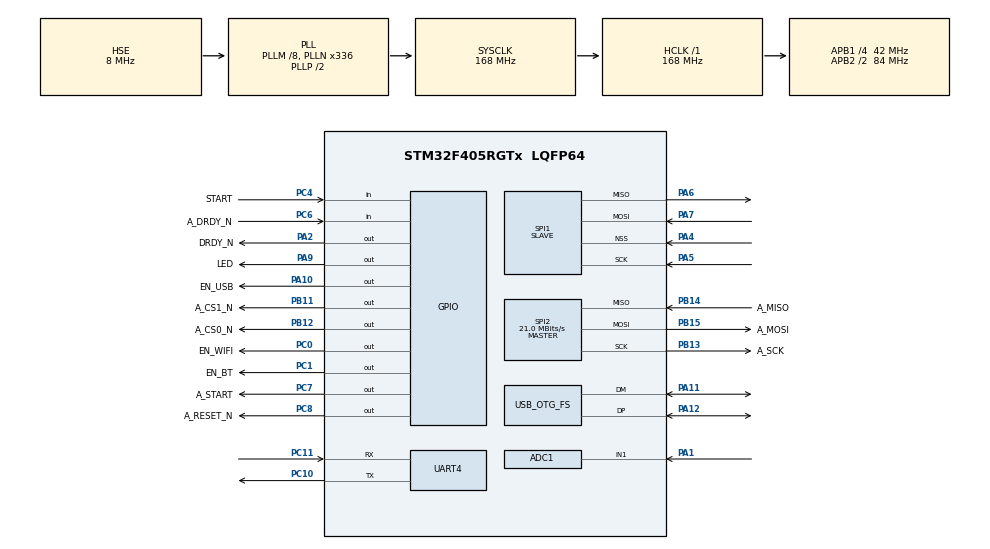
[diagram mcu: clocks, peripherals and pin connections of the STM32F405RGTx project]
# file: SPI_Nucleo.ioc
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ADC1.Channel-0\#ChannelRegularConversion=ADC_CHANNEL_1
ADC1.ClockPrescaler=ADC_CLOCK_SYNC_PCLK_DIV4
ADC1.ContinuousConvMode=DISABLE
ADC1.DMAContinuousRequests=DISABLE
ADC1.DataAlign=ADC_DATAALIGN_RIGHT
ADC1.DiscontinuousConvMode=DISABLE
ADC1.EOCSelection=ADC_EOC_SINGLE_CONV
ADC1.EnableAnalogWatchDog=false
ADC1.ExternalTrigConv=ADC_SOFTWARE_START
ADC1.ExternalTrigConvEdge=ADC_EXTERNALTRIGCONVEDGE_NONE
ADC1.InjNumberOfConversion=0
ADC1.NbrOfConversion=1
ADC1.NbrOfConversionFlag=1
ADC1.Rank-0\#ChannelRegularConversion=1
ADC1.Resolution=ADC_RESOLUTION_12B
ADC1.SamplingTime-0\#ChannelRegularConversion=ADC_SAMPLETIME_3CYCLES
ADC1.ScanConvMode=DISABLE
ADC1.master=1
Mcu.Family=STM32F4
Mcu.Name=STM32F405RGTx
Mcu.Package=LQFP64
NVIC.OTG_FS_IRQn=true\:0\:0\:false\:false\:true\:false
NVIC.PriorityGroup=NVIC_PRIORITYGROUP_4
PA1.Signal=ADCx_IN1
PA10.GPIO_Label=EN_USB
PA10.Signal=GPIO_Output
PA11.Mode=Host_Only
PA11.Signal=USB_OTG_FS_DM
PA12.Mode=Host_Only
PA12.Signal=USB_OTG_FS_DP
PA2.GPIO_Label=DRDY_N
PA2.PinState=GPIO_PIN_SET
PA2.Signal=GPIO_Output
PA4.Mode=NSS_Signal_Hard_Input
PA4.Signal=SPI1_NSS
PA5.Mode=Full_Duplex_Slave
PA5.Signal=SPI1_SCK
PA6.Mode=Full_Duplex_Slave
PA6.Signal=SPI1_MISO
PA7.Mode=Full_Duplex_Slave
PA7.Signal=SPI1_MOSI
PA9.GPIO_Label=LED
PA9.PinState=GPIO_PIN_SET
PA9.Signal=GPIO_Output
PB11.GPIO_Label=A_CS1_N
PB11.GPIO_PuPd=GPIO_NOPULL
PB11.GPIO_Speed=GPIO_SPEED_FREQ_LOW
PB11.Signal=GPIO_Output
PB12.GPIO_Label=A_CS0_N
PB12.GPIO_PuPd=GPIO_NOPULL
PB12.GPIO_Speed=GPIO_SPEED_FREQ_LOW
PB12.PinState=GPIO_PIN_SET
PB12.Signal=GPIO_Output
PB13.GPIO_Label=A_SCK
PB13.Mode=Full_Duplex_Master
PB13.Signal=SPI2_SCK
PB14.GPIO_Label=A_MISO
PB14.Mode=Full_Duplex_Master
PB14.Signal=SPI2_MISO
PB15.GPIO_Label=A_MOSI
PB15.Mode=Full_Duplex_Master
PB15.Signal=SPI2_MOSI
PC0.GPIO_Label=EN_WIFI
PC0.PinState=GPIO_PIN_SET
PC0.Signal=GPIO_Output
PC1.GPIO_Label=EN_BT
PC1.Signal=GPIO_Output
PC10.Mode=Asynchronous
PC10.Signal=UART4_TX
PC11.Mode=Asynchronous
PC11.Signal=UART4_RX
PC4.GPIO_Label=START
PC4.Signal=GPIO_Input
PC6.GPIO_Label=A_DRDY_N
PC6.GPIO_PuPd=GPIO_NOPULL
PC6.Signal=GPIO_Input
PC7.GPIO_Label=A_START
PC7.GPIO_PuPd=GPIO_NOPULL
PC7.PinState=GPIO_PIN_SET
PC7.Signal=GPIO_Output
PC8.GPIO_Label=A_RESET_N
PC8.PinState=GPIO_PIN_SET
PC8.Signal=GPIO_Output
PH0-OSC_IN.Mode=HSE-External-Oscillator
PH0-OSC_IN.Signal=RCC_OSC_IN
PH1-OSC_OUT.Mode=HSE-External-Oscillator
PH1-OSC_OUT.Signal=RCC_OSC_OUT
ProjectManager.HeapSize=0x200
ProjectManager.StackSize=0x400
ProjectManager.TargetToolchain=MDK-ARM V5
RCC.48MHZClocksFreq_Value=48000000
RCC.AHBFreq_Value=168000000
RCC.APB1CLKDivider=RCC_HCLK_DIV4
RCC.APB1Freq_Value=42000000
RCC.APB1TimFreq_Value=84000000
RCC.APB2CLKDivider=RCC_HCLK_DIV2
RCC.APB2Freq_Value=84000000
RCC.APB2TimFreq_Value=168000000
RCC.CortexFreq_Value=168000000
RCC.EnbaleCSS=true
RCC.HCLKFreq_Value=168000000
RCC.HSE_VALUE=8000000
RCC.HSI_VALUE=16000000
RCC.LSE_VALUE=32768
RCC.PLLM=8
RCC.PLLN=336
RCC.PLLQ=7
RCC.SYSCLKFreq_VALUE=168000000
RCC.SYSCLKSource=RCC_SYSCLKSOURCE_PLLCLK
RCC.VCOOutputFreq_Value=336000000
SH.ADCx_IN1.0=ADC1_IN1,IN1
SPI1.CLKPhase=SPI_PHASE_2EDGE
SPI1.CLKPolarity=SPI_POLARITY_LOW
SPI1.Direction=SPI_DIRECTION_2LINES
SPI1.Mode=SPI_MODE_SLAVE
SPI1.VirtualNSS=VM_NSSHARD
SPI1.VirtualType=VM_SLAVE
SPI2.BaudRatePrescaler=SPI_BAUDRATEPRESCALER_2
SPI2.CLKPhase=SPI_PHASE_2EDGE
SPI2.CalculateBaudRate=21.0 MBits/s
SPI2.Direction=SPI_DIRECTION_2LINES
SPI2.Mode=SPI_MODE_MASTER
SPI2.VirtualType=VM_MASTER
UART4.VirtualMode=Asynchronous
USB_HOST.USBH_HandleTypeDef-ALL_Classes_FS=hUsbHostFS
USB_HOST.VirtualModeFS=All_Classes
USB_OTG_FS.VirtualMode=Host_Only
USB_OTG_FS.phy_itface=HCD_PHY_EMBEDDED
VP_USB_HOST_VS_USB_HOST_ALL_CLASS_FS.Mode=ALL_Classes_FS
board=SPI_Nucleo

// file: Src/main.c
/**
  ******************************************************************************
  * File Name          : main.c
  * Description        : Main program body
  ******************************************************************************
  * This notice applies to any and all portions of this file
  * that are not between comment pairs USER CODE BEGIN and
  * USER CODE END. Other portions of this file, whether
  * inserted by the user or by software development tools
  * are owned by their respective copyright owners.
  *
  * Copyright (c) 2018 STMicroelectronics International N.V.
  * All rights reserved.
  *
  * Redistribution and use in source and binary forms, with or without
  * modification, are permitted, provided that the following conditions are met:
  *
  * 1. Redistribution of source code must retain the above copyright notice,
  *    this list of conditions and the following disclaimer.
  * 2. Redistributions in binary form must reproduce the above copyright notice,
  *    this list of conditions and the following disclaimer in the documentation
  *    and/or other materials provided with the distribution.
  * 3. Neither the name of STMicroelectronics nor the names of other
  *    contributors to this software may be used to endorse or promote products
  *    derived from this software without specific written permission.
  * 4. This software, including modifications and/or derivative works of this
  *    software, must execute solely and exclusively on microcontroller or
  *    microprocessor devices manufactured by or for STMicroelectronics.
  * 5. Redistribution and use of this software other than as permitted under
  *    this license is void and will automatically terminate your rights under
  *    this license.
  *
  * THIS SOFTWARE IS PROVIDED BY STMICROELECTRONICS AND CONTRIBUTORS "AS IS"
  * AND ANY EXPRESS, IMPLIED OR STATUTORY WARRANTIES, INCLUDING, BUT NOT
  * LIMITED TO, THE IMPLIED WARRANTIES OF MERCHANTABILITY, FITNESS FOR A
  * PARTICULAR PURPOSE AND NON-INFRINGEMENT OF THIRD PARTY INTELLECTUAL PROPERTY
  * RIGHTS ARE DISCLAIMED TO THE FULLEST EXTENT PERMITTED BY LAW. IN NO EVENT
  * SHALL STMICROELECTRONICS OR CONTRIBUTORS BE LIABLE FOR ANY DIRECT, INDIRECT,
  * INCIDENTAL, SPECIAL, EXEMPLARY, OR CONSEQUENTIAL DAMAGES (INCLUDING, BUT NOT
  * LIMITED TO, PROCUREMENT OF SUBSTITUTE GOODS OR SERVICES; LOSS OF USE, DATA,
  * OR PROFITS; OR BUSINESS INTERRUPTION) HOWEVER CAUSED AND ON ANY THEORY OF
  * LIABILITY, WHETHER IN CONTRACT, STRICT LIABILITY, OR TORT (INCLUDING
  * NEGLIGENCE OR OTHERWISE) ARISING IN ANY WAY OUT OF THE USE OF THIS SOFTWARE,
  * EVEN IF ADVISED OF THE POSSIBILITY OF SUCH DAMAGE.
  *
  ******************************************************************************
  */

#include "main.h"
#include "stm32f4xx_hal.h"
#include "usb_host.h"
/* USER CODE BEGIN Includes */

#include "util.h"
#include "ADS1299.h"
#include "stdbool.h"
#include <stdlib.h>

// Includes y defines relacionados con el filtro FIR
#include "arm_math.h"
#include "math_helper.h"

/* USER CODE END Includes */

ADC_HandleTypeDef hadc1;

SPI_HandleTypeDef hspi1;
SPI_HandleTypeDef hspi2;

UART_HandleTypeDef huart4;

/* USER CODE BEGIN PV */
/* Private variables ---------------------------------------------------------*/

/* USER CODE END PV */

void SystemClock_Config(void);
static void MX_GPIO_Init(void);
static void MX_SPI1_Init(void);
static void MX_SPI2_Init(void);
static void MX_ADC1_Init(void);
static void MX_UART4_Init(void);
void MX_USB_HOST_Process(void);

/* USER CODE BEGIN PFP */
/* Private function prototypes -----------------------------------------------*/

	uint8_t commandFromESP (uint8_t command, SPI_HandleTypeDef *SPI);
	void float2ESP (float32_t data2ESP, SPI_HandleTypeDef *SPI);
	void floatArray2ESP ( float32_t data2ESP_array[], int N_elementos, SPI_HandleTypeDef *SPI, UART_HandleTypeDef *huart4);

/* USER CODE END PFP */

/* USER CODE BEGIN 0 */

// global variables
unsigned long blink_interval_millis;
float32_t channel_1 [LENGTH_SAMPLES];
float32_t channel_2 [LENGTH_SAMPLES];
float32_t channel_3 [LENGTH_SAMPLES];
float32_t channel_4 [LENGTH_SAMPLES];
float32_t channel_5 [LENGTH_SAMPLES];
float32_t channel_6 [LENGTH_SAMPLES];
float32_t channel_7 [LENGTH_SAMPLES];
float32_t channel_8 [LENGTH_SAMPLES];

bool wait = false;
uint8_t bucle=1;
uint8_t k = 0;
int icanal=1;
int i;
bool acabar = false;
bool Data_ready = true;
uint8_t comando_temp = 0x00;

uint8_t data[27];

uint8_t command = 0x00;

int channel = 1;

float32_t data2ESP = 1234.5678;

bool shared_negative_electrode = true;

/* -------------------------------------------------------------------
 * Declare Test output buffer
 * ------------------------------------------------------------------- */
static float32_t testOutput[LENGTH_SAMPLES];
/* -------------------------------------------------------------------
 * Declare State buffer of size (numTaps + blockSize - 1)
 * ------------------------------------------------------------------- */
static float32_t firStateF32[BLOCK_SIZE + NUM_TAPS - 1];
/* ----------------------------------------------------------------------
** FIR Coefficients buffer generated using fir1() MATLAB function.
** fir1(28, 6/24)
** ------------------------------------------------------------------- */
const float32_t firCoeffs32[NUM_TAPS] = {-0.000038614678f, 0.000000000000f, 0.000015338068f, 0.000206602902f, 0.000877225767f, 0.002464976243f, 0.005514736861f, 0.010571075345f, 0.018001967212f, 0.027801754849f, 0.039444437421f, 0.051855626874f, 0.063540647046f, 0.072856397877f, 0.080000000000f, 0.072856397877f, 0.063540647046f, 0.051855626874f, 0.039444437421f, 0.027801754849f, 0.018001967212f, 0.010571075345f, 0.005514736861f, 0.002464976243f, 0.000877225767f, 0.000206602902f, 0.000015338068f, 0.000000000000f, -0.000038614678};

/*const float32_t firCoeffs32[NUM_TAPS] = {
  -0.0018225230f, -0.0015879294f, +0.0000000000f, +0.0036977508f, +0.0080754303f, +0.0085302217f, -0.0000000000f, -0.0173976984f,
  -0.0341458607f, -0.0333591565f, +0.0000000000f, +0.0676308395f, +0.1522061835f, +0.2229246956f, +0.2504960933f, +0.2229246956f,
  +0.1522061835f, +0.0676308395f, +0.0000000000f, -0.0333591565f, -0.0341458607f, -0.0173976984f, -0.0000000000f, +0.0085302217f,
  +0.0080754303f, +0.0036977508f, +0.0000000000f, -0.0015879294f, -0.0018225230f
};
*/
/* ------------------------------------------------------------------
 * Global variables for FIR LPF Example
 * ------------------------------------------------------------------- */
uint32_t blockSize = BLOCK_SIZE;
uint32_t numBlocks = LENGTH_SAMPLES/BLOCK_SIZE;
float32_t  snr;

// Inicialización de todas las variables relacionadas con el filtrado
	int i;
  arm_fir_instance_f32 S;
  arm_status status;
  float32_t  *inputF32 	= &channel_1[0];			// Definición del puntero de la señal a filtrar.
	float32_t  *outputF32 = &testOutput[0];			// Definición del puntero de la señal filtrada.

/* USER CODE END 0 */

int main(void)
{

  /* MCU Configuration----------------------------------------------------------*/

  /* Reset of all peripherals, Initializes the Flash interface and the Systick. */
  HAL_Init();

  /* Configure the system clock */
  SystemClock_Config();

  /* Initialize all configured peripherals */
  MX_GPIO_Init();
  MX_SPI1_Init();
  MX_SPI2_Init();
  MX_ADC1_Init();
  MX_UART4_Init();
  MX_USB_HOST_Init();

  /* USER CODE BEGIN 2 */

	//Inicialización del estado de ciertos pines

	HAL_GPIO_WritePin(DRDY_N_GPIO_Port,DRDY_N_Pin, GPIO_PIN_SET);
	HAL_GPIO_WritePin(LED_GPIO_Port,LED_Pin, GPIO_PIN_SET);
	HAL_GPIO_WritePin(A_START_GPIO_Port, A_START_Pin, GPIO_PIN_SET);

	// Reiniciamos el ESP12-E y lo dejamos habilitado

	HAL_GPIO_WritePin(EN_WIFI_GPIO_Port, EN_WIFI_Pin, GPIO_PIN_RESET);
	HAL_Delay(100);
	HAL_GPIO_WritePin(EN_WIFI_GPIO_Port, EN_WIFI_Pin, GPIO_PIN_SET);

	// Parpadeo del LED del ADS y el STM para comprobar si han arrancado bien

	HAL_GPIO_WritePin(LED_GPIO_Port,LED_Pin, GPIO_PIN_RESET); 	//LED ON
	adc_wreg(GPIO, 0x1C, &hspi2);				// Led 1 on, led 2 off
	HAL_Delay(500);
	HAL_GPIO_WritePin(LED_GPIO_Port,LED_Pin, GPIO_PIN_SET); 	//LED OFF
	adc_wreg(GPIO, 0x2C, &hspi2);				// Led 1 on, led 2 off
	HAL_Delay(500);

	// Reiniciamos el ADS y lo dejamos habilitado

	HAL_GPIO_WritePin(A_RESET_N_GPIO_Port, A_RESET_N_Pin, GPIO_PIN_RESET);
	HAL_Delay(100);
	HAL_GPIO_WritePin(A_RESET_N_GPIO_Port, A_RESET_N_Pin, GPIO_PIN_SET);

	uint8_t RESET_opcode = 0x06;
	uint8_t zero = 0x00;

	HAL_GPIO_WritePin(A_CS0_N_GPIO_Port, A_CS0_N_Pin, GPIO_PIN_RESET);
	HAL_SPI_TransmitReceive(&hspi2, &RESET_opcode, &zero, 1, 100);
	HAL_GPIO_WritePin(A_CS0_N_GPIO_Port, A_CS0_N_Pin, GPIO_PIN_SET);
	HAL_Delay(1000);

	// Initial configuration of the ADS
	uint8_t config [4];
	uint8_t config_channel [8];

	config[0] = CONFIG1_reserved | DR_250_SPS;
	config[1] = CONFIG2_reserved | INT_CAL | CAL_FREQ_SLOW;
	config[2] = PD_REFBUF | CONFIG3_reserved | BIASREF_INT | PD_BIAS;
	config[3] = PD_LOFF_COMP;

	config_channel [0] = TEST_SIGNAL | GAIN_24X;
	config_channel [1] = TEST_SIGNAL | GAIN_24X;
	config_channel [2] = TEST_SIGNAL | GAIN_24X;
	config_channel [3] = TEST_SIGNAL | GAIN_24X;
	config_channel [4] = TEST_SIGNAL | GAIN_24X;
	config_channel [5] = TEST_SIGNAL | GAIN_24X;
	config_channel [6] = TEST_SIGNAL | GAIN_24X;
	config_channel [7] = TEST_SIGNAL | GAIN_24X;

	configADS(config, config_channel, &hspi2, &huart4);

	uint8_t gain[8] = {0, 0, 0, 0, 0, 0, 0, 0};
	for (int i = 0; i<8; i++)
	{
		gain[i] = calcular_ganancia(config_channel[i]);
	}

	//==============================================================

  /* USER CODE END 2 */

  /* Infinite loop */
  /* USER CODE BEGIN WHILE */
  while (1)
  {
	uint8_t command2ESP = 0x02;
		// Begin of the states machine

		// Wait for command from ESP
	while (command == 0x00)
	{
		command = commandFromESP(command2ESP, &hspi1);
	}

	switch (command){
		case (0xF0):		// Cambio en la configuración
			for (int i=0; i<4; i++){
				config[i] = commandFromESP(command, &hspi1);
			}
			for (int i=0; i<8; i++){
				config_channel[i] = commandFromESP(command, &hspi1);
			}
			configADS(config, config_channel, &hspi2, &huart4);

			for (int i = 0; i<8; i++)
			{
				gain[i] = calcular_ganancia(config_channel[i]);
			}

			command = 0x00;

		break;

		case (0x01):	// Lectura de un dato y envío al ESP

			adquire_single_data(data, &hspi2, &huart4);

//			one_shot(data, &hspi2, &huart4);

			//adc_wreg(GPIO, 0x2C, &hspi2);				// Led 1 on, led 2 off

			for (int i = 1; i<=8; i++)
			{
			data2ESP = byte2float(data[i*3], data[i*3 +1], data[i*3 + 2], gain[i]);
			float2ESP (data2ESP, &hspi1);
			}
			//adc_wreg(GPIO, 0x1C,&hspi2);				// Led 1 off, led 2 on

			Serial_println_N(data[3], &huart4);
			Serial_println_N(data[4], &huart4);
			Serial_println_N(data[5], &huart4);

		command = 0x00;

		break;

		case (0x02):	// Lectura continua de datos y envío al ESP

		adquire_array_data (data, channel_1, channel_2, channel_3, channel_4, channel_5, channel_6, channel_7, channel_8, gain, &hspi2, &huart4);

	// ----------------------------------------------------------------------
  // Call the FIR process function for every blockSize samples
  // -------------------------------------------------------------------

		for(i=0; i < (BLOCK_SIZE + NUM_TAPS - 1); i++)
		{
			firStateF32[i]=channel_1[i];
		}
		// Call FIR init function to initialize the instance structure.
		arm_fir_init_f32(&S, NUM_TAPS, (float32_t *)&firCoeffs32[0], &firStateF32[0], blockSize);

		for(i=0; i < numBlocks; i++) //
		{
			arm_fir_f32(&S, inputF32 + (i * blockSize), outputF32 + (i * blockSize), blockSize);
		}

//			one_shot_array (data, channel_1, 1, &hspi2, &huart4);

			floatArray2ESP (testOutput, LENGTH_SAMPLES, &hspi1, &huart4);

			command = 0x00;

		break;

		default:

				command = 0x00;

		break;
	}

  /* USER CODE END WHILE */
    MX_USB_HOST_Process();

  }

}

/** System Clock Configuration
*/
void SystemClock_Config(void)
{

  RCC_OscInitTypeDef RCC_OscInitStruct;
  RCC_ClkInitTypeDef RCC_ClkInitStruct;

    /**Configure the main internal regulator output voltage
    */
  __HAL_RCC_PWR_CLK_ENABLE();

  __HAL_PWR_VOLTAGESCALING_CONFIG(PWR_REGULATOR_VOLTAGE_SCALE1);

    /**Initializes the CPU, AHB and APB busses clocks
    */
  RCC_OscInitStruct.OscillatorType = RCC_OSCILLATORTYPE_HSE;
  RCC_OscInitStruct.HSEState = RCC_HSE_ON;
  RCC_OscInitStruct.PLL.PLLState = RCC_PLL_ON;
  RCC_OscInitStruct.PLL.PLLSource = RCC_PLLSOURCE_HSE;
  RCC_OscInitStruct.PLL.PLLM = 8;
  RCC_OscInitStruct.PLL.PLLN = 336;
  RCC_OscInitStruct.PLL.PLLP = RCC_PLLP_DIV2;
  RCC_OscInitStruct.PLL.PLLQ = 7;
  if (HAL_RCC_OscConfig(&RCC_OscInitStruct) != HAL_OK)
  {
    _Error_Handler(__FILE__, __LINE__);
  }

    /**Initializes the CPU, AHB and APB busses clocks
    */
  RCC_ClkInitStruct.ClockType = RCC_CLOCKTYPE_HCLK|RCC_CLOCKTYPE_SYSCLK
                              |RCC_CLOCKTYPE_PCLK1|RCC_CLOCKTYPE_PCLK2;
  RCC_ClkInitStruct.SYSCLKSource = RCC_SYSCLKSOURCE_PLLCLK;
  RCC_ClkInitStruct.AHBCLKDivider = RCC_SYSCLK_DIV1;
  RCC_ClkInitStruct.APB1CLKDivider = RCC_HCLK_DIV4;
  RCC_ClkInitStruct.APB2CLKDivider = RCC_HCLK_DIV2;

  if (HAL_RCC_ClockConfig(&RCC_ClkInitStruct, FLASH_LATENCY_5) != HAL_OK)
  {
    _Error_Handler(__FILE__, __LINE__);
  }

    /**Enables the Clock Security System
    */
  HAL_RCC_EnableCSS();

    /**Configure the Systick interrupt time
    */
  HAL_SYSTICK_Config(HAL_RCC_GetHCLKFreq()/1000);

    /**Configure the Systick
    */
  HAL_SYSTICK_CLKSourceConfig(SYSTICK_CLKSOURCE_HCLK);

  /* SysTick_IRQn interrupt configuration */
  HAL_NVIC_SetPriority(SysTick_IRQn, 0, 0);
}

/* ADC1 init function */
static void MX_ADC1_Init(void)
{

  ADC_ChannelConfTypeDef sConfig;

    /**Configure the global features of the ADC (Clock, Resolution, Data Alignment and number of conversion)
    */
  hadc1.Instance = ADC1;
  hadc1.Init.ClockPrescaler = ADC_CLOCK_SYNC_PCLK_DIV4;
  hadc1.Init.Resolution = ADC_RESOLUTION_12B;
  hadc1.Init.ScanConvMode = DISABLE;
  hadc1.Init.ContinuousConvMode = DISABLE;
  hadc1.Init.DiscontinuousConvMode = DISABLE;
  hadc1.Init.ExternalTrigConvEdge = ADC_EXTERNALTRIGCONVEDGE_NONE;
  hadc1.Init.ExternalTrigConv = ADC_SOFTWARE_START;
  hadc1.Init.DataAlign = ADC_DATAALIGN_RIGHT;
  hadc1.Init.NbrOfConversion = 1;
  hadc1.Init.DMAContinuousRequests = DISABLE;
  hadc1.Init.EOCSelection = ADC_EOC_SINGLE_CONV;
  if (HAL_ADC_Init(&hadc1) != HAL_OK)
  {
    _Error_Handler(__FILE__, __LINE__);
  }

    /**Configure for the selected ADC regular channel its corresponding rank in the sequencer and its sample time.
    */
  sConfig.Channel = ADC_CHANNEL_1;
  sConfig.Rank = 1;
  sConfig.SamplingTime = ADC_SAMPLETIME_3CYCLES;
  if (HAL_ADC_ConfigChannel(&hadc1, &sConfig) != HAL_OK)
  {
    _Error_Handler(__FILE__, __LINE__);
  }

}

/* SPI1 init function */
static void MX_SPI1_Init(void)
{

  /* SPI1 parameter configuration*/
  hspi1.Instance = SPI1;
  hspi1.Init.Mode = SPI_MODE_SLAVE;
  hspi1.Init.Direction = SPI_DIRECTION_2LINES;
  hspi1.Init.DataSize = SPI_DATASIZE_8BIT;
  hspi1.Init.CLKPolarity = SPI_POLARITY_LOW;
  hspi1.Init.CLKPhase = SPI_PHASE_2EDGE;
  hspi1.Init.NSS = SPI_NSS_HARD_INPUT;
  hspi1.Init.FirstBit = SPI_FIRSTBIT_MSB;
  hspi1.Init.TIMode = SPI_TIMODE_DISABLE;
  hspi1.Init.CRCCalculation = SPI_CRCCALCULATION_DISABLE;
  hspi1.Init.CRCPolynomial = 10;
  if (HAL_SPI_Init(&hspi1) != HAL_OK)
  {
    _Error_Handler(__FILE__, __LINE__);
  }

}

/* SPI2 init function */
static void MX_SPI2_Init(void)
{

  /* SPI2 parameter configuration*/
  hspi2.Instance = SPI2;
  hspi2.Init.Mode = SPI_MODE_MASTER;
  hspi2.Init.Direction = SPI_DIRECTION_2LINES;
  hspi2.Init.DataSize = SPI_DATASIZE_8BIT;
  hspi2.Init.CLKPolarity = SPI_POLARITY_LOW;
  hspi2.Init.CLKPhase = SPI_PHASE_2EDGE;
  hspi2.Init.NSS = SPI_NSS_SOFT;
  hspi2.Init.BaudRatePrescaler = SPI_BAUDRATEPRESCALER_2;
  hspi2.Init.FirstBit = SPI_FIRSTBIT_MSB;
  hspi2.Init.TIMode = SPI_TIMODE_DISABLE;
  hspi2.Init.CRCCalculation = SPI_CRCCALCULATION_DISABLE;
  hspi2.Init.CRCPolynomial = 10;
  if (HAL_SPI_Init(&hspi2) != HAL_OK)
  {
    _Error_Handler(__FILE__, __LINE__);
  }

}

/* UART4 init function */
static void MX_UART4_Init(void)
{

  huart4.Instance = UART4;
  huart4.Init.BaudRate = 115200;
  huart4.Init.WordLength = UART_WORDLENGTH_8B;
  huart4.Init.StopBits = UART_STOPBITS_1;
  huart4.Init.Parity = UART_PARITY_NONE;
  huart4.Init.Mode = UART_MODE_TX_RX;
  huart4.Init.HwFlowCtl = UART_HWCONTROL_NONE;
  huart4.Init.OverSampling = UART_OVERSAMPLING_16;
  if (HAL_UART_Init(&huart4) != HAL_OK)
  {
    _Error_Handler(__FILE__, __LINE__);
  }

}

/** Configure pins as
        * Analog
        * Input
        * Output
        * EVENT_OUT
        * EXTI
*/
static void MX_GPIO_Init(void)
{

  GPIO_InitTypeDef GPIO_InitStruct;

  /* GPIO Ports Clock Enable */
  __HAL_RCC_GPIOH_CLK_ENABLE();
  __HAL_RCC_GPIOC_CLK_ENABLE();
  __HAL_RCC_GPIOA_CLK_ENABLE();
  __HAL_RCC_GPIOB_CLK_ENABLE();

  /*Configure GPIO pin Output Level */
  HAL_GPIO_WritePin(GPIOC, EN_WIFI_Pin|A_START_Pin|A_RESET_N_Pin, GPIO_PIN_SET);

  /*Configure GPIO pin Output Level */
  HAL_GPIO_WritePin(EN_BT_GPIO_Port, EN_BT_Pin, GPIO_PIN_RESET);

  /*Configure GPIO pin Output Level */
  HAL_GPIO_WritePin(GPIOA, DRDY_N_Pin|LED_Pin, GPIO_PIN_SET);

  /*Configure GPIO pin Output Level */
  HAL_GPIO_WritePin(A_CS1_N_GPIO_Port, A_CS1_N_Pin, GPIO_PIN_RESET);

  /*Configure GPIO pin Output Level */
  HAL_GPIO_WritePin(A_CS0_N_GPIO_Port, A_CS0_N_Pin, GPIO_PIN_SET);

  /*Configure GPIO pin Output Level */
  HAL_GPIO_WritePin(EN_USB_GPIO_Port, EN_USB_Pin, GPIO_PIN_RESET);

  /*Configure GPIO pins : EN_WIFI_Pin EN_BT_Pin A_START_Pin A_RESET_N_Pin */
  GPIO_InitStruct.Pin = EN_WIFI_Pin|EN_BT_Pin|A_START_Pin|A_RESET_N_Pin;
  GPIO_InitStruct.Mode = GPIO_MODE_OUTPUT_PP;
  GPIO_InitStruct.Pull = GPIO_NOPULL;
  GPIO_InitStruct.Speed = GPIO_SPEED_FREQ_LOW;
  HAL_GPIO_Init(GPIOC, &GPIO_InitStruct);

  /*Configure GPIO pins : DRDY_N_Pin LED_Pin EN_USB_Pin */
  GPIO_InitStruct.Pin = DRDY_N_Pin|LED_Pin|EN_USB_Pin;
  GPIO_InitStruct.Mode = GPIO_MODE_OUTPUT_PP;
  GPIO_InitStruct.Pull = GPIO_NOPULL;
  GPIO_InitStruct.Speed = GPIO_SPEED_FREQ_LOW;
  HAL_GPIO_Init(GPIOA, &GPIO_InitStruct);

  /*Configure GPIO pins : START_Pin A_DRDY_N_Pin */
  GPIO_InitStruct.Pin = START_Pin|A_DRDY_N_Pin;
  GPIO_InitStruct.Mode = GPIO_MODE_INPUT;
  GPIO_InitStruct.Pull = GPIO_NOPULL;
  HAL_GPIO_Init(GPIOC, &GPIO_InitStruct);

  /*Configure GPIO pins : A_CS1_N_Pin A_CS0_N_Pin */
  GPIO_InitStruct.Pin = A_CS1_N_Pin|A_CS0_N_Pin;
  GPIO_InitStruct.Mode = GPIO_MODE_OUTPUT_PP;
  GPIO_InitStruct.Pull = GPIO_NOPULL;
  GPIO_InitStruct.Speed = GPIO_SPEED_FREQ_LOW;
  HAL_GPIO_Init(GPIOB, &GPIO_InitStruct);

}

/* USER CODE BEGIN 4 */

uint8_t commandFromESP(uint8_t command, SPI_HandleTypeDef *hspi1)
{
	uint8_t response = 0x00;

		HAL_GPIO_WritePin(DRDY_N_GPIO_Port,DRDY_N_Pin, GPIO_PIN_RESET);
		HAL_SPI_TransmitReceive(hspi1, &command, &response, 1, 100);
		HAL_GPIO_WritePin(DRDY_N_GPIO_Port,DRDY_N_Pin, GPIO_PIN_SET);
		HAL_GPIO_TogglePin(LED_GPIO_Port,LED_Pin); 	//LED OFF
		HAL_Delay(50);

	return response;
}

void float2ESP (float32_t data2ESP, SPI_HandleTypeDef *SPI)
{
			union miDato{
				struct
				{
					uint8_t  b[4];     // Array de bytes de tamaño igual al tamaño de la primera variable: int = 2 bytes, float = 4 bytes
				}split;
					float32_t fval;
			 } float_data;

			 float_data.fval=data2ESP;

			 HAL_GPIO_WritePin(DRDY_N_GPIO_Port,DRDY_N_Pin, GPIO_PIN_RESET);
			 HAL_SPI_Transmit(SPI, float_data.split.b, 4, 100);
			 HAL_GPIO_WritePin(DRDY_N_GPIO_Port,DRDY_N_Pin, GPIO_PIN_SET);
			 HAL_GPIO_TogglePin(LED_GPIO_Port,LED_Pin); 	//LED OFF
			 HAL_Delay(10);
}

void floatArray2ESP ( float32_t data2ESP_array[], int N_elementos, SPI_HandleTypeDef *SPI, UART_HandleTypeDef *huart4)
{
	union miDato{
		struct
		{
			uint8_t  b[4];     // Array de bytes de tamaño igual al tamaño de la primera variable: int = 2 bytes, float = 4 bytes
		}split;
			float32_t fval;
	 } float_data;

	uint8_t buffer [1000]; //tamaño máximo del buffer a usar
	int i = 0;

	for(i = 0; i<N_elementos; i++)
	 {
		 float_data.fval 	= data2ESP_array[i];
		 buffer[i*4] 	 		= float_data.split.b[0];
		 buffer[i*4+1] 		= float_data.split.b[1];
		 buffer[i*4+2] 		= float_data.split.b[2];
		 buffer[i*4+3] 		= float_data.split.b[3];
	 }

	 HAL_GPIO_WritePin(DRDY_N_GPIO_Port,DRDY_N_Pin, GPIO_PIN_RESET);
	 HAL_SPI_Transmit(SPI, buffer, 1000, 50);
	 HAL_GPIO_WritePin(DRDY_N_GPIO_Port,DRDY_N_Pin, GPIO_PIN_SET);
	 HAL_GPIO_TogglePin(LED_GPIO_Port,LED_Pin); 	//LED OFF

}

/* USER CODE END 4 */

void _Error_Handler(char * file, int line)
{
  while(1)
  {
  }
}

/************************ (C) COPYRIGHT STMicroelectronics *****END OF FILE****/
